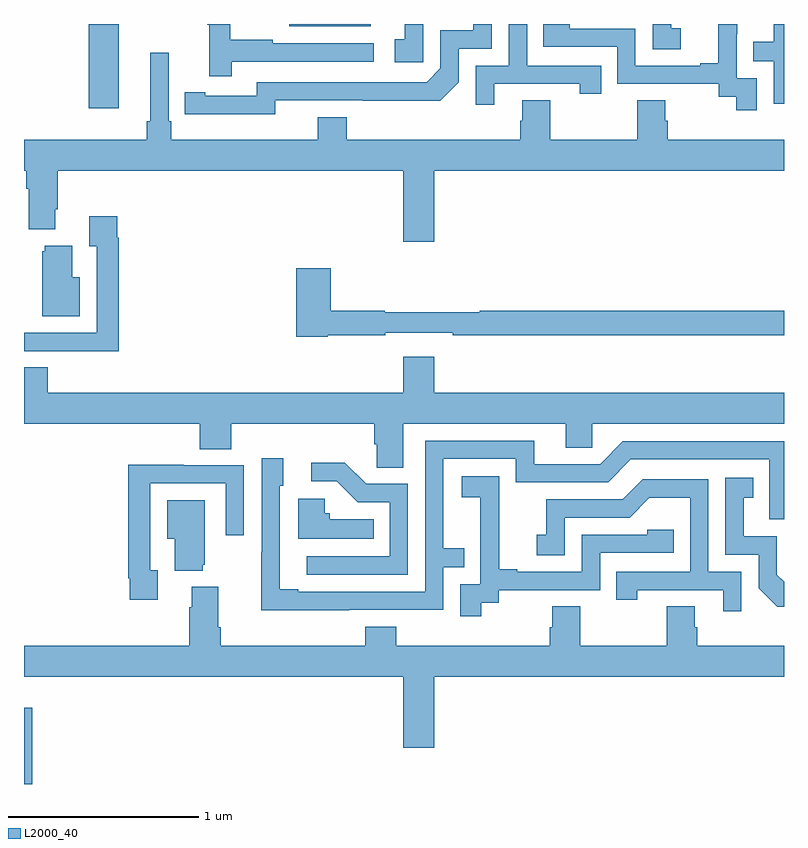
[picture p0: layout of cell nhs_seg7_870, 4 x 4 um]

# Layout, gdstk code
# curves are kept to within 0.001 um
import gdstk
lib = gdstk.Library(unit=1e-6, precision=1e-09)
def R(c, l, rs):  # rectangles x0, y0, x1, y1
    for r in rs: c.add(gdstk.rectangle(r[:2], r[2:], *l))
def P(c, l, *ps):  # polygons
    for p in ps: c.add(gdstk.Polygon(p, *l))
L2000_40 = (2000, 40)

nhs_seg7_870 = lib.new_cell('nhs_seg7_870')
R(nhs_seg7_870, L2000_40, [(175,1052,175.043,1052.401), (175.34,1055.556,175.498,1056), (176.397,1055.987,176.824,1056)])
P(nhs_seg7_870, L2000_40, [(176.093,1055.802),(176.842,1055.802),(176.842,1055.898),(176.309,1055.898),(176.309,1055.918),(176.086,1055.918),(176.086,1056),(175.965,1056),(175.965,1055.995),(175.976,1055.995),(175.976,1055.724),(176.093,1055.724)],
  [(178.857,1055.715),(178.752,1055.715),(178.752,1055.945),(178.754,1055.945),(178.754,1056),(178.655,1056),(178.655,1055.794),(178.559,1055.794),(178.559,1055.781),(178.218,1055.781),(178.218,1055.976),(177.873,1055.976),(177.873,1056),(177.733,1056),(177.733,1055.88),(178.122,1055.88),(178.122,1055.685),(178.656,1055.685),(178.656,1055.617),(178.749,1055.617),(178.749,1055.547),(178.857,1055.547)],
  [(179,1056),(178.947,1056),(178.947,1055.906),(178.837,1055.906),(178.837,1055.805),(178.947,1055.805),(178.947,1055.58),(179,1055.58)],
  [(177.102,1056),(177.005,1056),(177.005,1055.919),(176.952,1055.919),(176.952,1055.799),(177.102,1055.799)],
  [(178.456,1055.977),(178.407,1055.977),(178.407,1056),(178.308,1056),(178.308,1055.868),(178.456,1055.868)],
  [(177.475,1055.685),(177.926,1055.685),(177.926,1055.634),(178.037,1055.634),(178.037,1055.781),(177.648,1055.781),(177.648,1056),(177.552,1056),(177.552,1055.781),(177.378,1055.781),(177.378,1055.574),(177.475,1055.574)],
  [(176.322,1055.598),(177.19,1055.597),(177.288,1055.694),(177.288,1055.871),(177.462,1055.871),(177.462,1056),(177.365,1056),(177.365,1055.967),(177.192,1055.967),(177.192,1055.766),(177.12,1055.694),(176.226,1055.694),(176.226,1055.622),(175.954,1055.622),(175.954,1055.642),(175.846,1055.642),(175.846,1055.526),(176.322,1055.525)],
  [(177.16,1055.228),(179,1055.228),(179,1055.392),(178.388,1055.392),(178.388,1055.49),(178.375,1055.49),(178.375,1055.6),(178.228,1055.6),(178.228,1055.392),(177.771,1055.392),(177.771,1055.6),(177.623,1055.6),(177.623,1055.49),(177.611,1055.49),(177.611,1055.392),(176.699,1055.392),(176.699,1055.509),(176.546,1055.509),(176.546,1055.392),(175.775,1055.392),(175.775,1055.488),(175.761,1055.488),(175.761,1055.848),(175.664,1055.848),(175.664,1055.488),(175.645,1055.488),(175.645,1055.392),(175,1055.392),(175,1055.228),(175.013,1055.228),(175.013,1055.132),(175.025,1055.132),(175.025,1054.919),(175.165,1054.919),(175.165,1055.026),(175.178,1055.026),(175.178,1055.228),(176.996,1055.228),(176.996,1054.854),(177.16,1054.854)],
  [(175.499,1054.874),(175.492,1054.874),(175.492,1054.987),(175.343,1054.987),(175.343,1054.831),(175.383,1054.831),(175.383,1054.374),(175,1054.374),(175,1054.278),(175.207,1054.278),(175.207,1054.277),(175.499,1054.277)],
  [(175.294,1054.666),(175.255,1054.666),(175.255,1054.834),(175.109,1054.834),(175.109,1054.803),(175.097,1054.803),(175.097,1054.463),(175.294,1054.463)],
  [(176.598,1054.362),(176.9,1054.362),(176.9,1054.374),(177.256,1054.374),(177.256,1054.362),(179,1054.362),(179,1054.49),(177.398,1054.49),(177.398,1054.483),(176.898,1054.483),(176.898,1054.49),(176.615,1054.49),(176.615,1054.714),(176.432,1054.714),(176.432,1054.354),(176.598,1054.354)],
  [(176.995,1053.896),(177.851,1053.896),(177.851,1053.769),(177.99,1053.769),(177.99,1053.896),(179,1053.896),(179,1054.06),(177.16,1054.06),(177.16,1054.249),(176.996,1054.249),(176.996,1054.06),(175.124,1054.06),(175.124,1054.193),(175,1054.193),(175,1053.896),(175.925,1053.896),(175.925,1053.763),(176.09,1053.763),(176.09,1053.896),(176.843,1053.896),(176.843,1053.787),(176.856,1053.787),(176.856,1053.664),(176.995,1053.664)],
  [(176.711,1052.916),(177.207,1052.916),(177.207,1053.141),(177.317,1053.141),(177.317,1053.242),(177.207,1053.242),(177.207,1053.711),(177.588,1053.711),(177.588,1053.588),(178.074,1053.588),(178.194,1053.708),(178.923,1053.708),(178.923,1053.393),(179,1053.393),(179,1053.804),(178.152,1053.804),(178.032,1053.684),(177.685,1053.684),(177.685,1053.807),(177.111,1053.807),(177.111,1053.012),(176.443,1053.012),(176.443,1053.025),(176.346,1053.025),(176.346,1053.57),(176.365,1053.57),(176.365,1053.715),(176.25,1053.715),(176.25,1053.221),(176.248,1053.221),(176.248,1052.915)],
  [(177.021,1053.579),(176.802,1053.579),(176.689,1053.692),(176.511,1053.692),(176.511,1053.594),(176.645,1053.594),(176.756,1053.483),(176.925,1053.483),(176.925,1053.198),(176.487,1053.198),(176.487,1053.102),(177.021,1053.102)],
  [(175.705,1053.126),(175.665,1053.126),(175.665,1053.582),(176.061,1053.582),(176.061,1053.309),(176.157,1053.309),(176.157,1053.678),(175.841,1053.678),(175.841,1053.68),(175.549,1053.68),(175.549,1053.082),(175.557,1053.082),(175.557,1052.97),(175.705,1052.97)],
  [(177.406,1052.953),(177.498,1052.953),(177.498,1053.021),(178.032,1053.021),(178.032,1053.216),(178.421,1053.216),(178.421,1053.339),(178.281,1053.339),(178.281,1053.312),(177.936,1053.312),(177.936,1053.117),(177.595,1053.117),(177.595,1053.13),(177.5,1053.13),(177.5,1053.413),(177.501,1053.413),(177.501,1053.619),(177.303,1053.619),(177.303,1053.509),(177.401,1053.509),(177.401,1053.281),(177.402,1053.281),(177.402,1053.051),(177.297,1053.051),(177.297,1052.883),(177.406,1052.883)],
  [(179,1053.064),(178.962,1053.102),(178.962,1053.303),(178.789,1053.303),(178.789,1053.507),(178.838,1053.507),(178.838,1053.613),(178.692,1053.613),(178.692,1053.207),(178.866,1053.207),(178.866,1053.03),(178.964,1052.933),(179,1052.933)],
  [(178.776,1053.117),(178.602,1053.117),(178.602,1053.603),(178.256,1053.603),(178.151,1053.498),(177.748,1053.498),(177.748,1053.313),(177.699,1053.313),(177.699,1053.204),(177.846,1053.204),(177.846,1053.402),(178.188,1053.402),(178.292,1053.506),(178.506,1053.506),(178.506,1053.117),(178.117,1053.117),(178.117,1052.97),(178.228,1052.97),(178.228,1053.021),(178.679,1053.021),(178.679,1052.91),(178.776,1052.91)],
  [(176.84,1053.394),(176.61,1053.394),(176.61,1053.426),(176.583,1053.426),(176.583,1053.502),(176.444,1053.502),(176.444,1053.29),(176.84,1053.29)],
  [(175.94,1053.153),(175.951,1053.153),(175.951,1053.493),(175.754,1053.493),(175.754,1053.29),(175.793,1053.29),(175.793,1053.122),(175.94,1053.122)],
  [(179,1052.728),(178.544,1052.728),(178.544,1052.826),(178.531,1052.826),(178.531,1052.936),(178.384,1052.936),(178.384,1052.728),(177.927,1052.728),(177.927,1052.936),(177.779,1052.936),(177.779,1052.826),(177.767,1052.826),(177.767,1052.728),(176.96,1052.728),(176.96,1052.827),(176.795,1052.827),(176.795,1052.728),(176.036,1052.728),(176.036,1052.824),(176.023,1052.824),(176.023,1053.037),(175.883,1053.037),(175.883,1052.93),(175.871,1052.93),(175.871,1052.728),(175,1052.728),(175,1052.564),(176.996,1052.564),(176.996,1052.19),(177.16,1052.19),(177.16,1052.564),(179,1052.564)])

lib.write_gds('nhs_seg7_870.gds')
